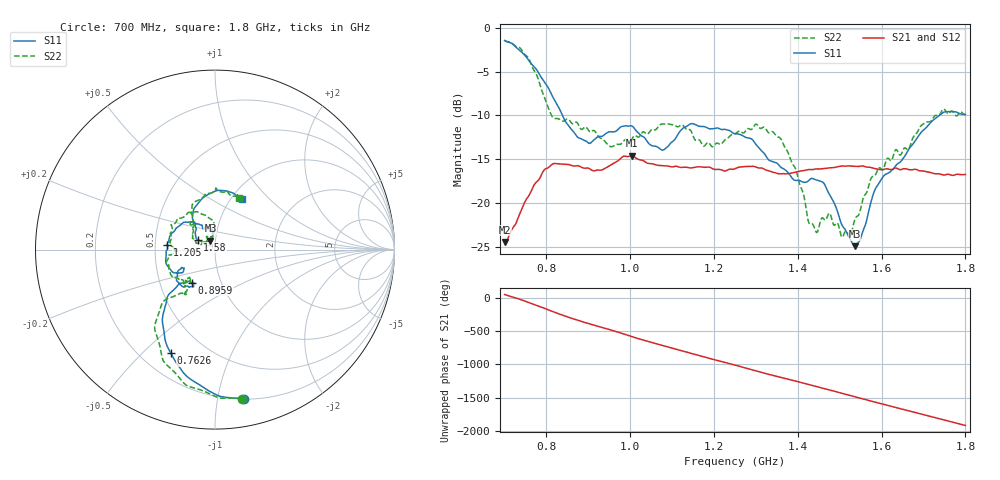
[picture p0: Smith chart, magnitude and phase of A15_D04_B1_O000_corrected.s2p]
! Created with skrf 1.9.0 (http://scikit-rf.org).
# Hz S RI R 50.0
!freq ReS11 ImS11 ReS21 ImS21 ReS12 ImS12 ReS22 ImS22
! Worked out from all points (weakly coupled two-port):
!   1601 points, 700 MHz to 1.8 GHz, reference 50 ohm
!   highest |S21| = -14.62 dB at 1.004 GHz (marker M1); lowest = -24.5 dB at 700.7 MHz (marker M2)
!   lowest |S11| = -25.0 dB at 1.535 GHz (marker M3), VSWR 1.12, Z = 47.3 + j4.8 ohm
!   |S11| at or under -10 dB: 838 MHz to 1.738 GHz (899.9 MHz wide, 69.9 % of centre)
!   |S22| runs from -23.9 to -1.5 dB; largest |S21 - S12| = 0.0035
!   S11 on the Smith chart (normalised r, x): 700 MHz: 0.20, -1.19; 762.6 MHz: 0.32, -0.61; 895.9 MHz: 0.73, -0.28; 1.205 GHz: 0.58, +0.03; 1.58 GHz: 0.82, +0.09; 1.8 GHz: 1.12, +0.71
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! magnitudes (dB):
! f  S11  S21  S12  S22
! 700 MHz  -1.4  -24.5  -24.3  -1.5
! 700.7 MHz  -1.5  -24.5  -24.2  -1.5
! 762.6 MHz  -4.1  -18.8  -18.7  -4.0
! 814.1 MHz  -7.8  -15.6  -15.6  -10.2
! 883.6 MHz  -12.7  -15.9  -15.8  -11.6
! 895.9 MHz  -13.0  -16.0  -16.1  -11.4
! 953 MHz  -11.9  -15.7  -15.7  -13.6
! 1.004 GHz  -11.2  -14.6  -14.8  -12.7
! 1.067 GHz  -13.7  -15.7  -15.7  -11.3
! 1.144 GHz  -11.0  -16.0  -16.0  -11.7
! 1.205 GHz  -11.5  -16.2  -16.2  -13.2
! 1.25 GHz  -12.1  -16.1  -16.0  -12.1
! 1.301 GHz  -13.4  -15.9  -15.9  -11.0
! 1.358 GHz  -15.9  -16.7  -16.6  -12.6
! 1.434 GHz  -17.2  -16.2  -16.2  -22.4
! 1.463 GHz  -17.8  -16.1  -16.1  -21.9
! 1.506 GHz  -22.6  -15.8  -15.8  -23.9
! 1.535 GHz  -25.0  -15.8  -15.8  -22.0
! 1.58 GHz  -19.0  -16.0  -16.0  -17.0
! 1.617 GHz  -16.6  -16.2  -16.1  -15.0
! 1.738 GHz  -10.0  -16.7  -16.7  -10.0
! 1.8 GHz  -9.9  -16.8  -16.8  -10.0
